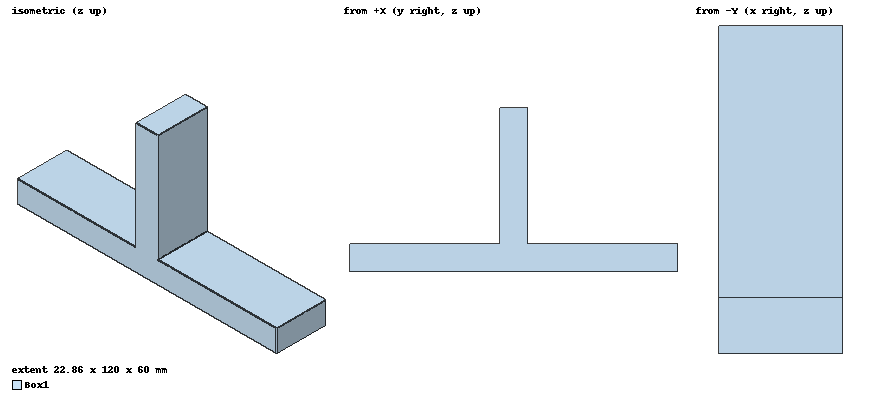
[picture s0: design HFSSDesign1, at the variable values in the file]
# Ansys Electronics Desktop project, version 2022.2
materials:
  vacuum: permittivity=1

design HFSSDesign1 (HFSS, DrivenModal, model units mm)
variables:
  a = 22.86mm
  b = 10.16mm
  c = 60mm
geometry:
  Box1 [vacuum] = box(corner=(0mm, 0mm, 0mm), size=(a, b, c))
  Box1.rotate(axis=X, angle=90deg)
  Box1_1 = Box1.duplicate_mirror(point=(0mm, 0mm, 0mm), normal=(0mm, 1mm, 0mm))
  Box2 = box(corner=(0mm, 0mm, 0mm), size=(a, b, c))
  Box2.rotate(axis=X, angle=90deg)
  Box2.rotate(axis=X, angle=-90deg)
  Box2.move(0mm, -5.08mm, 0mm)
  Box1.unite(Box1_1, Box2)
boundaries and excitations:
  PerfE1: Perfect E Faces=Box1.face(at (11.43, 32.54, 10.16), 4 of 6, 5 of 6, at (11.43, -32.54, 10.16), 3 of 6, 6 of 6, 3 of 6)
  1: Wave Port Faces=Box1.face(1 of 6) NumModes=1 Modes{Mode1{IntLine{(11.43, 60, 0) -> (11.43, 60, 10.16)} CharImp=Zpi}}
  2: Wave Port Faces=Box1.face(1 of 6) NumModes=1 Modes{Mode1{IntLine{(11.43, -60, 0) -> (11.43, -60, 10.16)} CharImp=Zpi}}
  3: Wave Port Faces=Box1.face(1 of 6) NumModes=1 Modes{Mode1{IntLine{(11.43, -5.08, 60) -> (11.43, 5.08, 60)} CharImp=Zpi}}
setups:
  Setup1: HfssDriven MultipleAdaptiveFreqsSetup{Low=8GHz High=12GHz} MaxDeltaS=0.02 MaximumPasses=20 MinimumPasses=1 MinimumConvergedPasses=1 PercentRefinement=30 BasisOrder=1 PortAccuracy=2 DrivenSolverType="Direct Solver"
    sweep Sweep: 8GHz to 12GHz, 401 points; Type=Fast SaveFields
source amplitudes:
  1:1, 2:1: 0W 0deg
  3:1: 1W 0deg
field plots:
  Vector_E1: E Field in Box1 on Setup1 : LastAdaptive at Freq=10GHz Phase=0deg
  Mag_E1: E Field in Box1 on Setup1 : Sweep at Freq=8GHz Phase=0deg
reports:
  S Parameter Plot 1: dB(S(1,1)), dB(S(2,1)), dB(S(3,1)), dB(S(1,2)), dB(S(2,2)), dB(S(3,2)), dB(S(1,3)), dB(S(2,3)), dB(S(3,3)) vs Freq on Setup1 : Sweep
  S Parameter Plot 2: ang_deg(S(1,3)), ang_deg(S(2,3)) vs Freq on Setup1 : Sweep
  S Parameter Plot 3: dB(S(1,3)), dB(S(2,3)), dB(S(3,3)) vs Freq on Setup1 : Sweep
